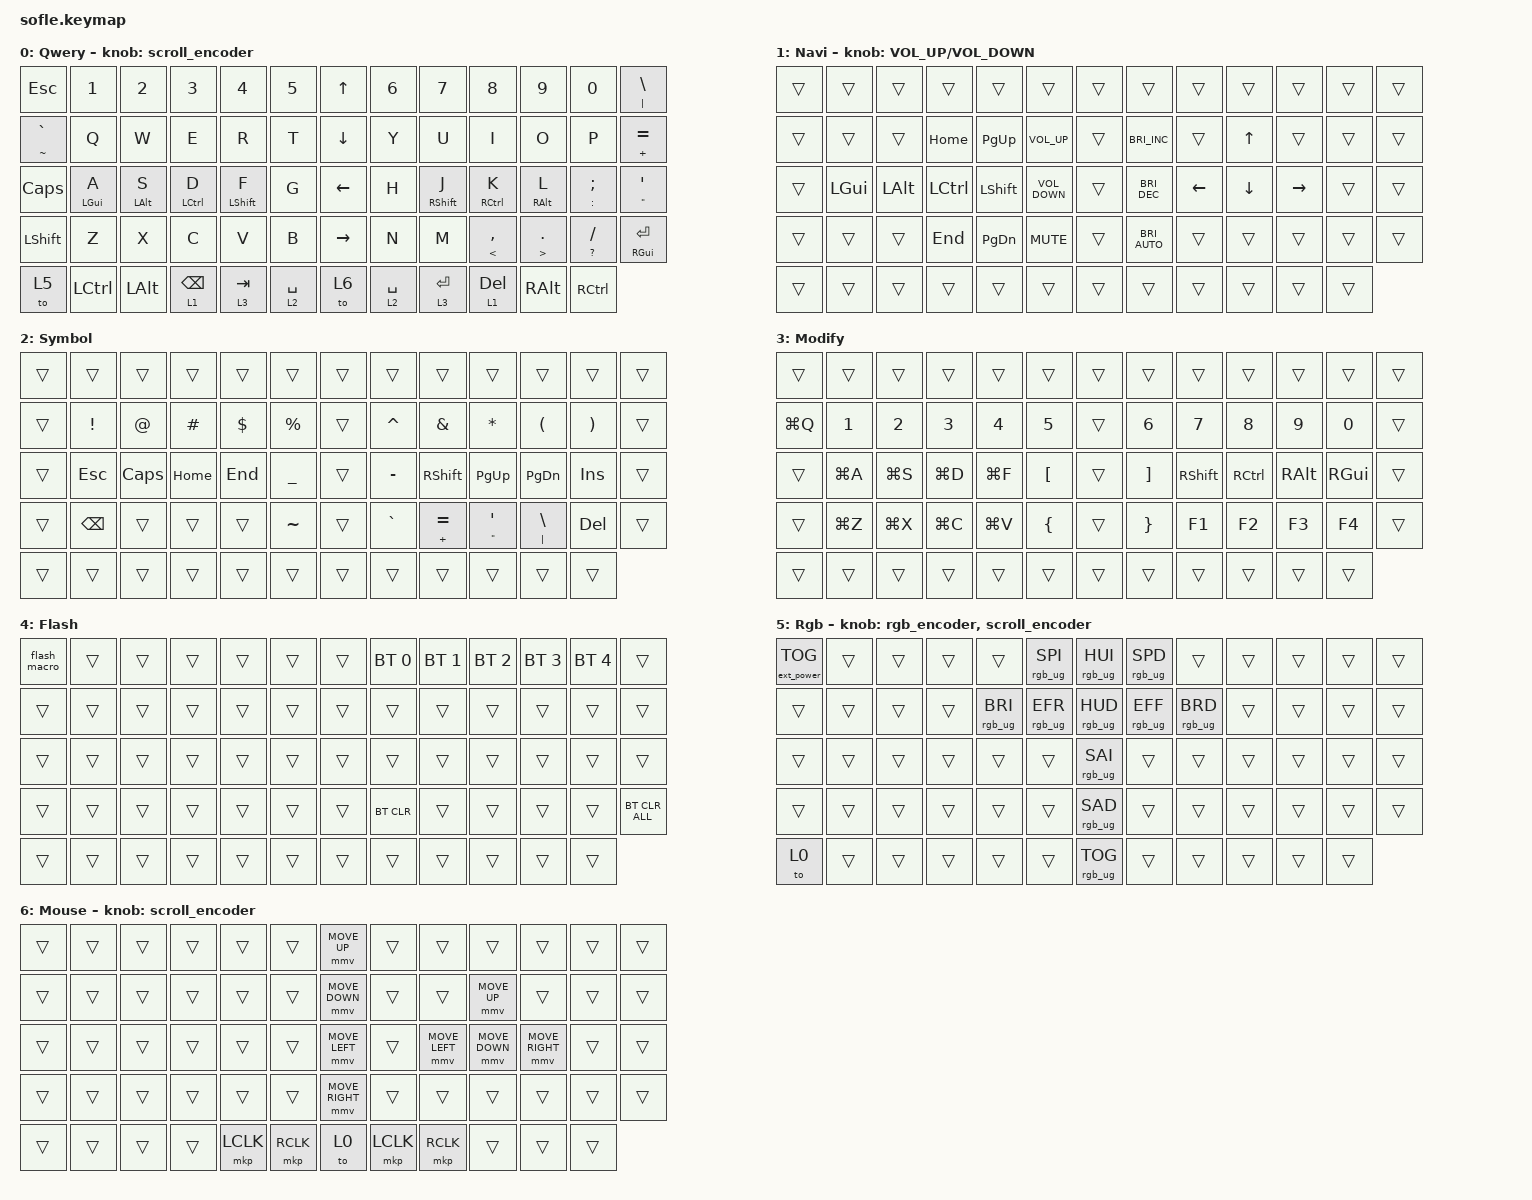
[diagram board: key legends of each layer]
#define ZMK_POINTING_DEFAULT_MOVE_VAL 1200  // 600
#define ZMK_POINTING_DEFAULT_SCRL_VAL 25   // 10

#include <input/processors.dtsi>
#include <zephyr/dt-bindings/input/input-event-codes.h>
#include <behaviors.dtsi>
#include <dt-bindings/zmk/bt.h>
#include <dt-bindings/zmk/keys.h>
#include <dt-bindings/zmk/outputs.h>
#include <dt-bindings/zmk/pointing.h>
#include <dt-bindings/zmk/rgb.h>

&mmv_input_listener { input-processors = <&zip_xy_scaler 2 1>; };

&msc_input_listener { input-processors = <&zip_scroll_scaler 2 1>; };

&msc {
    acceleration-exponent = <1>;      // 0
    time-to-max-speed-ms = <100>;       // 300
    delay-ms = <0>;                   // 0
};

&mmv {
    time-to-max-speed-ms = <500>;
    acceleration-exponent = <1>;
    trigger-period-ms = <16>;
};

&soft_off { hold-time-ms = <2000>; };

/ {
    zmk,studio {
        compatible = "zmk,studio";
        status = "okay";
    };
 
    scroll_encoder: scroll_encoder {
        compatible = "zmk,behavior-sensor-rotate";
        #sensor-binding-cells = <0>;
        bindings = <&msc SCRL_DOWN>, <&msc SCRL_UP>;

        tap-ms = <100>;
    };

    behaviors {
    };

    combos {
        compatible = "zmk,combos";

        softoff {
            bindings = <&soft_off>;
            key-positions = <14 28 40>;
        };
    };

    macros {
        SHIFT_MCLK: SHIFT_MCLK {
            compatible = "zmk,behavior-macro";
            #binding-cells = <0>;
            bindings =
                <&macro_press>,
                <&kp LEFT_SHIFT>,
                <&macro_press>,
                <&mkp MB3>,
                <&macro_pause_for_release>,
                <&macro_release>,
                <&kp LEFT_SHIFT &mkp MB3>;

            label = "SHIFT_MCLK";
        };

        flash_macro: flash_macro {
            compatible = "zmk,behavior-macro";
            #binding-cells = <0>;
            bindings = <&bootloader>;
        };
    };

    behaviors {
        hm: homerow_mods {
            compatible = "zmk,behavior-hold-tap";
            label = "HOMEROW_MODS";
            bindings = <&kp>, <&kp>;

            #binding-cells = <2>;
            tapping-term-ms = <200>;
            quick-tap-ms = <180>;
            flavor = "tap-preferred";
        };

        ltq: ltq {
            compatible = "zmk,behavior-hold-tap";
            label = "LTQ";
            bindings = <&mo>, <&kp>;

            #binding-cells = <2>;
            tapping-term-ms = <200>;
            quick-tap-ms = <180>;
        };

        as: auto_shift {
            compatible = "zmk,behavior-hold-tap";
            label = "AUTO_SHIFT";
            bindings = <&kp>, <&kp>;

            #binding-cells = <2>;
            tapping-term-ms = <135>;
            quick-tap-ms = <0>;
        };

        rgb_encoder: rgb_encoder {
            compatible = "zmk,behavior-sensor-rotate";
            label = "RGB_ENCODER";
            #sensor-binding-cells = <0>;
            bindings = <&rgb_ug RGB_BRI>, <&rgb_ug RGB_BRD>;
        };

        scroll_encoder: scroll_encoder {
            compatible = "zmk,behavior-sensor-rotate";
            #sensor-binding-cells = <0>;
            bindings = <&msc SCRL_UP>, <&msc SCRL_DOWN>;
            tap-ms = <100>;
        };
    };

    combos {
        compatible = "zmk,combos";

        esc {
            bindings = <&kp ESCAPE>;
            key-positions = <13 14>;
        };

        left_bkt {
            bindings = <&kp LEFT_BRACKET>;
            key-positions = <17 16>;
        };

        right_bkt {
            bindings = <&kp RIGHT_BRACKET>;
            key-positions = <21 22>;
        };

        left_par {
            bindings = <&kp LEFT_PARENTHESIS>;
            key-positions = <29 30>;
        };

        right_par {
            bindings = <&kp RIGHT_PARENTHESIS>;
            key-positions = <34 35>;
        };

        left_brace {
            bindings = <&kp LEFT_BRACE>;
            key-positions = <42 43>;
        };

        right_brace {
            bindings = <&kp RIGHT_BRACE>;
            key-positions = <47 48>;
        };

        bac {
            bindings = <&kp BACKSLASH>;
            key-positions = <18 20>;
        };

        pipe {
            bindings = <&kp PIPE>;
            key-positions = <31 33>;
        };
    };

    keymap {
        compatible = "zmk,keymap";

        Qwery {
            bindings = <
&kp ESCAPE       &kp N1          &kp N2          &kp N3              &kp N4            &kp N5          &kp UP_ARROW     &kp N6        &kp N7             &kp N8               &kp N9                   &kp N0               &as PIPE BACKSLASH
&as TILDE GRAVE  &kp Q           &kp W           &kp E               &kp R             &kp T           &kp DOWN_ARROW   &kp Y         &kp U              &kp I                &kp O                    &kp P                &as PLUS EQUAL
&kp CAPSLOCK     &hm LEFT_GUI A  &hm LEFT_ALT S  &hm LEFT_CONTROL D  &hm LEFT_SHIFT F  &kp G           &kp LEFT_ARROW   &kp H         &hm RIGHT_SHIFT J  &hm RIGHT_CONTROL K  &hm RIGHT_ALT L          &as COLON SEMICOLON  &as DOUBLE_QUOTES SQT
&kp LSHFT        &kp Z           &kp X           &kp C               &kp V             &kp B           &kp RIGHT_ARROW  &kp N         &kp M              &as LESS_THAN COMMA  &as GREATER_THAN PERIOD  &as QUESTION SLASH   &hm RIGHT_GUI ENTER
&to 5            &kp LCTRL       &kp LALT        &ltq 1 BACKSPACE    &ltq 3 TAB        &ltq 2 SPACE    &to 6            &ltq 2 SPACE  &ltq 3 ENTER       &ltq 1 DELETE        &kp RALT                 &kp RCTRL
            >;

            sensor-bindings = <&scroll_encoder>;
            display-name = "Qwery";
        };

        Navi {
            bindings = <
&trans  &trans        &trans        &trans            &trans          &trans               &trans  &trans                 &trans          &trans          &trans           &trans  &trans
&trans  &trans        &trans        &kp HOME          &kp PAGE_UP     &kp C_VOLUME_UP      &trans  &kp C_BRIGHTNESS_INC   &trans          &kp UP_ARROW    &trans           &trans  &trans
&trans  &kp LEFT_GUI  &kp LEFT_ALT  &kp LEFT_CONTROL  &kp LEFT_SHIFT  &kp C_VOLUME_DOWN    &trans  &kp C_BRIGHTNESS_DEC   &kp LEFT_ARROW  &kp DOWN_ARROW  &kp RIGHT_ARROW  &trans  &trans
&trans  &trans        &trans        &kp END           &kp PAGE_DOWN   &kp K_MUTE           &trans  &kp C_BRIGHTNESS_AUTO  &trans          &trans          &trans           &trans  &trans
&trans  &trans        &trans        &trans            &trans          &trans               &trans  &trans                 &trans          &trans          &trans           &trans
            >;

            label = "Navi";
            sensor-bindings = <&inc_dec_kp C_VOLUME_UP C_VOLUME_DOWN>;
        };

        Symbol {
            bindings = <
&trans  &trans           &trans        &trans    &trans      &trans            &trans  &trans     &trans           &trans                          &trans                &trans                 &trans
&trans  &kp EXCLAMATION  &kp AT_SIGN   &kp HASH  &kp DOLLAR  &kp PERCENT       &trans  &kp CARET  &kp AMPERSAND    &kp ASTERISK                    &kp LEFT_PARENTHESIS  &kp RIGHT_PARENTHESIS  &trans
&trans  &kp ESCAPE       &kp CAPSLOCK  &kp HOME  &kp END     &kp UNDERSCORE    &trans  &kp MINUS  &kp RIGHT_SHIFT  &kp PAGE_UP                     &kp PAGE_DOWN         &kp INSERT             &trans
&trans  &kp BACKSPACE    &trans        &trans    &trans      &kp TILDE         &trans  &kp GRAVE  &as PLUS EQUAL   &as DOUBLE_QUOTES SINGLE_QUOTE  &as PIPE BACKSLASH    &kp DELETE             &trans
&trans  &trans           &trans        &trans    &trans      &trans            &trans  &trans     &trans           &trans                          &trans                &trans
            >;

            label = "Symbol";
        };

        Modify {
            bindings = <
&trans     &trans        &trans        &trans     &trans     &trans            &trans  &trans           &trans           &trans             &trans         &trans         &trans
&kp LG(Q)  &kp NUMBER_1  &kp NUMBER_2  &kp N3     &kp N4     &kp N5            &trans  &kp N6           &kp N7           &kp N8             &kp N9         &kp N0         &trans
&trans     &kp LG(A)     &kp LG(S)     &kp LG(D)  &kp LG(F)  &kp LBKT          &trans  &kp RBKT         &kp RIGHT_SHIFT  &kp RIGHT_CONTROL  &kp RIGHT_ALT  &kp RIGHT_GUI  &trans
&trans     &kp LG(Z)     &kp LG(X)     &kp LG(C)  &kp LG(V)  &kp LEFT_BRACE    &trans  &kp RIGHT_BRACE  &kp F1           &kp F2             &kp F3         &kp F4         &trans
&trans     &trans        &trans        &trans     &trans     &trans            &trans  &trans           &trans           &trans             &trans         &trans
            >;

            label = "Modify";
        };

        Flash {
            bindings = <
&flash_macro  &trans  &trans  &trans  &trans  &trans    &trans  &bt BT_SEL 0  &bt BT_SEL 1  &bt BT_SEL 2  &bt BT_SEL 3  &bt BT_SEL 4  &trans
&trans        &trans  &trans  &trans  &trans  &trans    &trans  &trans        &trans        &trans        &trans        &trans        &trans
&trans        &trans  &trans  &trans  &trans  &trans    &trans  &trans        &trans        &trans        &trans        &trans        &trans
&trans        &trans  &trans  &trans  &trans  &trans    &trans  &bt BT_CLR    &trans        &trans        &trans        &trans        &bt BT_CLR_ALL
&trans        &trans  &trans  &trans  &trans  &trans    &trans  &trans        &trans        &trans        &trans        &trans
            >;

            display-name = "Flash";
        };

        Rgb {
            bindings = <
&ext_power EP_TOG  &trans  &trans  &trans  &trans           &rgb_ug RGB_SPI    &rgb_ug RGB_HUI  &rgb_ug RGB_SPD  &trans           &trans  &trans  &trans  &trans
&trans             &trans  &trans  &trans  &rgb_ug RGB_BRI  &rgb_ug RGB_EFR    &rgb_ug RGB_HUD  &rgb_ug RGB_EFF  &rgb_ug RGB_BRD  &trans  &trans  &trans  &trans
&trans             &trans  &trans  &trans  &trans           &trans             &rgb_ug RGB_SAI  &trans           &trans           &trans  &trans  &trans  &trans
&trans             &trans  &trans  &trans  &trans           &trans             &rgb_ug RGB_SAD  &trans           &trans           &trans  &trans  &trans  &trans
&to 0              &trans  &trans  &trans  &trans           &trans             &rgb_ug RGB_TOG  &trans           &trans           &trans  &trans  &trans
            >;

            label = "Rgb";
            sensor-bindings = <&rgb_encoder &scroll_encoder>;
        };

        Mouse {
            bindings = <
&trans  &trans  &trans  &trans  &trans     &trans       &mmv MOVE_UP     &trans     &trans          &trans          &trans           &trans  &trans
&trans  &trans  &trans  &trans  &trans     &trans       &mmv MOVE_DOWN   &trans     &trans          &mmv MOVE_UP    &trans           &trans  &trans
&trans  &trans  &trans  &trans  &trans     &trans       &mmv MOVE_LEFT   &trans     &mmv MOVE_LEFT  &mmv MOVE_DOWN  &mmv MOVE_RIGHT  &trans  &trans
&trans  &trans  &trans  &trans  &trans     &trans       &mmv MOVE_RIGHT  &trans     &trans          &trans          &trans           &trans  &trans
&trans  &trans  &trans  &trans  &mkp LCLK  &mkp RCLK    &to 0            &mkp LCLK  &mkp RCLK       &trans          &trans           &trans
            >;

            label = "Mouse";
            sensor-bindings = <&scroll_encoder>;
        };
    };

    conditional_layers {
        compatible = "zmk,conditional-layers";

        Flash {
            if-layers = <2 3>;
            then-layer = <4>;
        };
    };
};
